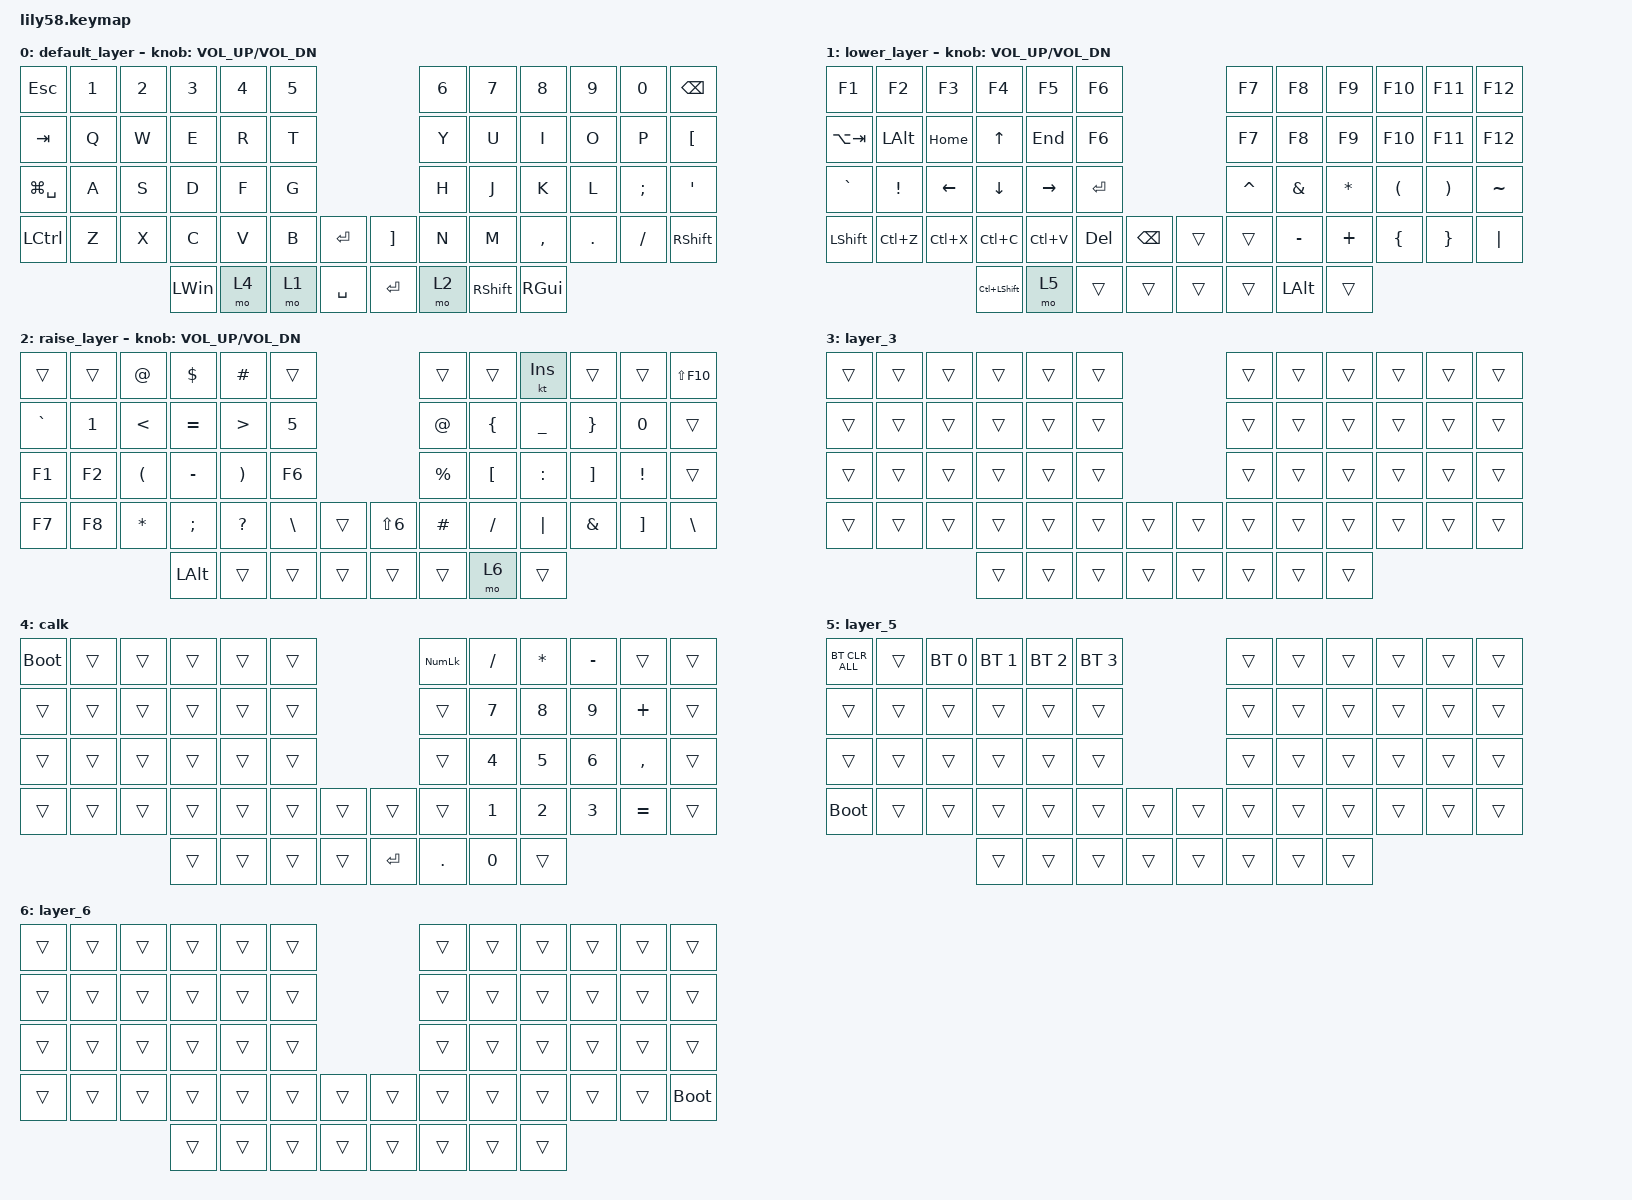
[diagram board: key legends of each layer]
/*
 * Copyright (c) 2020 The ZMK Contributors
 *
 * SPDX-License-Identifier: MIT
 */

#include <behaviors.dtsi>
#include <dt-bindings/zmk/bt.h>
#include <dt-bindings/zmk/keys.h>

/ {
    combos {
        compatible = "zmk,combos";

        combo_esc {
            timeout-ms = <50>;
            key-positions = <0 1>;
            bindings = <&kp ESC>;
        };
    };

    behaviors {
        ss_hs_modmorph: ss_hs_modmorph {
            compatible = "zmk,behavior-mod-morph";
            label = "SS_HS_MODMORPH";
            bindings = <&kp M>, <&kp RIGHT_BRACKET>;

            #binding-cells = <0>;
            mods = <(MOD_LSFT|MOD_RSFT)>;
        };

        kh_hs_tapdance: kh_hs_tapdance {
            compatible = "zmk,behavior-tap-dance";
            label = "KH_HS_TAPDANCE";
            #binding-cells = <0>;
            tapping-term-ms = <200>;
            bindings = <&kp LEFT_BRACKET>, <&kp RIGHT_BRACKET>;
        };

        hrm: hrm {
            compatible = "zmk,behavior-hold-tap";
            #binding-cells = <2>;
            flavor = "tap-preferred";
            tapping-term-ms = <200>;
            quick-tap-ms = <200>;
            require-prior-idle-ms = <125>;
            bindings = <&kp>, <&kp>;
        };
    };

    keymap {
        compatible = "zmk,keymap";

        default_layer {
            // ------------------------------------------------------------------------------------------------------------
            // |  ESC  |  1  |  2  |  3   |  4   |  5   |                   |  6   |  7    |  8    |  9   |   0   |   `   |
            // |  TAB  |  Q  |  W  |  E   |  R   |  T   |                   |  Y   |  U    |  I    |  O   |   P   |   -   |
            // |  CTRL |  A  |  S  |  D   |  F   |  G   |                   |  H   |  J    |  K    |  L   |   ;   |   '   |
            // | SHIFT |  Z  |  X  |  C   |  V   |  B   |   "["  |  |  "]"  |  N   |  M    |  ,    |  .   |   /   | SHIFT |
            //                     | ALT  | GUI  | LOWER|  SPACE |  | ENTER | RAISE| BSPC  | GUI   |

            bindings = <
&kp ESC        &kp N1  &kp N2  &kp N3        &kp N4  &kp N5                          &kp N6  &kp N7           &kp N8     &kp N9   &kp N0    &kp BACKSPACE
&kp TAB        &kp Q   &kp W   &kp E         &kp R   &kp T                           &kp Y   &kp U            &kp I      &kp O    &kp P     &kp LEFT_BRACKET
&kp LG(SPACE)  &kp A   &kp S   &kp D         &kp F   &kp G                           &kp H   &kp J            &kp K      &kp L    &kp SEMI  &kp SQT
&kp LCTRL      &kp Z   &kp X   &kp C         &kp V   &kp B   &kp ENTER    &kp RBKT   &kp N   &kp M            &kp COMMA  &kp DOT  &kp FSLH  &kp RSHFT
                               &kp LEFT_WIN  &mo 4   &mo 1   &kp SPACE    &kp ENTER  &mo 2   &kp RIGHT_SHIFT  &kp RGUI
            >;

            sensor-bindings = <&inc_dec_kp C_VOL_UP C_VOL_DN>;
        };

        lower_layer {
            // ------------------------------------------------------------------------------------------------------------
            // | BTCLR | BT1 | BT2 |  BT3 |  BT4 |  BT5 |                   |      |       |       |      |       |       |
            // |  F1   |  F2 |  F3 |  F4  |  F5  |  F6  |                   |  F7  |  F8   |  F9   |  F10 |  F11  |  F12  |
            // |   `   |  !  |  @  |  #   |  $   |  %   |                   |  ^   |  &    |  *    |  (   |   )   |   ~   |
            // |       |     |     |      |      |      |        |  |       |      |  _    |  +    |  {   |   }   |  "|"  |
            //                     |      |      |      |        |  |       |      |       |       |

            bindings = <
&kp F1          &kp F2        &kp F3          &kp F4              &kp F5           &kp F6                              &kp F7     &kp F8        &kp F9     &kp F10   &kp F11   &kp F12
&kp LA(TAB)     &kp LEFT_ALT  &kp HOME        &kp UP_ARROW        &kp END          &kp F6                              &kp F7     &kp F8        &kp F9     &kp F10   &kp F11   &kp F12
&kp GRAVE       &kp EXCL      &kp LEFT_ARROW  &kp DOWN_ARROW      &kp RIGHT_ARROW  &kp ENTER                           &kp CARET  &kp AMPS      &kp ASTRK  &kp LPAR  &kp RPAR  &kp TILDE
&kp LEFT_SHIFT  &kp LC(Z)     &kp LC(X)       &kp LC(C)           &kp LC(V)        &kp DEL    &kp BACKSPACE    &trans  &trans     &kp MINUS     &kp PLUS   &kp LBRC  &kp RBRC  &kp PIPE
                                              &kp LC(LEFT_SHIFT)  &mo 5            &trans     &trans           &trans  &trans     &kp LEFT_ALT  &trans
            >;

            sensor-bindings = <&inc_dec_kp C_VOL_UP C_VOL_DN>;
        };

        raise_layer {
            // ------------------------------------------------------------------------------------------------------------
            // |       |     |     |      |      |      |                   |      |       |       |      |       |       |
            // |   `   |  1  |  2  |  3   |  4   |  5   |                   |  6   |   7   |   8   |  9   |   0   |       |
            // |   F1  |  F2 |  F3 |  F4  |  F5  |  F6  |                   |      |   <-  |   v   |  ^   |  ->   |       |
            // |   F7  |  F8 |  F9 |  F10 |  F11 |  F12 |        |  |       |  +   |   -   |   =   |  [   |   ]   |   \   |
            //                     |      |      |      |        |  |       |      |       |       |

            bindings = <
&trans     &trans  &kp AT_SIGN    &kp DOLLAR     &kp HASH               &trans                                     &trans       &trans            &kt INSERT      &trans             &trans           &kp LS(F10)
&kp GRAVE  &kp N1  &kp LESS_THAN  &kp EQUAL      &kp GREATER_THAN       &kp N5                                     &kp AT       &kp LEFT_BRACE    &kp UNDERSCORE  &kp RIGHT_BRACE    &kp N0           &trans
&kp F1     &kp F2  &kp LPAR       &kp MINUS      &kp RIGHT_PARENTHESIS  &kp F6                                     &kp PERCENT  &kp LEFT_BRACKET  &kp COLON       &kp RIGHT_BRACKET  &kp EXCLAMATION  &trans
&kp F7     &kp F8  &kp ASTRK      &kp SEMICOLON  &kp QUESTION           &kp BACKSLASH  &trans    &kp LS(NUMBER_6)  &kp HASH     &kp SLASH         &kp PIPE        &kp AMPERSAND      &kp RBKT         &kp BSLH
                                  &kp LEFT_ALT   &trans                 &trans         &trans    &trans            &trans       &mo 6             &trans
            >;

            sensor-bindings = <&inc_dec_kp C_VOL_UP C_VOL_DN>;
        };

        layer_3 {
            bindings = <
&trans  &trans  &trans  &trans  &trans  &trans                    &trans  &trans  &trans  &trans  &trans  &trans
&trans  &trans  &trans  &trans  &trans  &trans                    &trans  &trans  &trans  &trans  &trans  &trans
&trans  &trans  &trans  &trans  &trans  &trans                    &trans  &trans  &trans  &trans  &trans  &trans
&trans  &trans  &trans  &trans  &trans  &trans  &trans    &trans  &trans  &trans  &trans  &trans  &trans  &trans
                        &trans  &trans  &trans  &trans    &trans  &trans  &trans  &trans
            >;
        };

        calk {
            bindings = <
&bootloader  &trans  &trans  &trans  &trans  &trans                       &kp KP_NUMLOCK  &kp SLASH     &kp ASTERISK  &kp MINUS     &trans     &trans
&trans       &trans  &trans  &trans  &trans  &trans                       &trans          &kp N7        &kp N8        &kp N9        &kp PLUS   &trans
&trans       &trans  &trans  &trans  &trans  &trans                       &trans          &kp NUMBER_4  &kp N5        &kp NUMBER_6  &kp COMMA  &trans
&trans       &trans  &trans  &trans  &trans  &trans  &trans    &trans     &trans          &kp NUMBER_1  &kp NUMBER_2  &kp NUMBER_3  &kp EQUAL  &trans
                             &trans  &trans  &trans  &trans    &kp ENTER  &kp PERIOD      &kp NUMBER_0  &trans
            >;
        };

        layer_5 {
            bindings = <
&bt BT_CLR_ALL  &trans  &bt BT_SEL 0  &bt BT_SEL 1  &bt BT_SEL 2  &bt BT_SEL 3                    &trans  &trans  &trans  &trans  &trans  &trans
&trans          &trans  &trans        &trans        &trans        &trans                          &trans  &trans  &trans  &trans  &trans  &trans
&trans          &trans  &trans        &trans        &trans        &trans                          &trans  &trans  &trans  &trans  &trans  &trans
&bootloader     &trans  &trans        &trans        &trans        &trans        &trans    &trans  &trans  &trans  &trans  &trans  &trans  &trans
                                      &trans        &trans        &trans        &trans    &trans  &trans  &trans  &trans
            >;
        };

        layer_6 {
            bindings = <
&trans  &trans  &trans  &trans  &trans  &trans                    &trans  &trans  &trans  &trans  &trans  &trans
&trans  &trans  &trans  &trans  &trans  &trans                    &trans  &trans  &trans  &trans  &trans  &trans
&trans  &trans  &trans  &trans  &trans  &trans                    &trans  &trans  &trans  &trans  &trans  &trans
&trans  &trans  &trans  &trans  &trans  &trans  &trans    &trans  &trans  &trans  &trans  &trans  &trans  &bootloader
                        &trans  &trans  &trans  &trans    &trans  &trans  &trans  &trans
            >;
        };
    };
};
